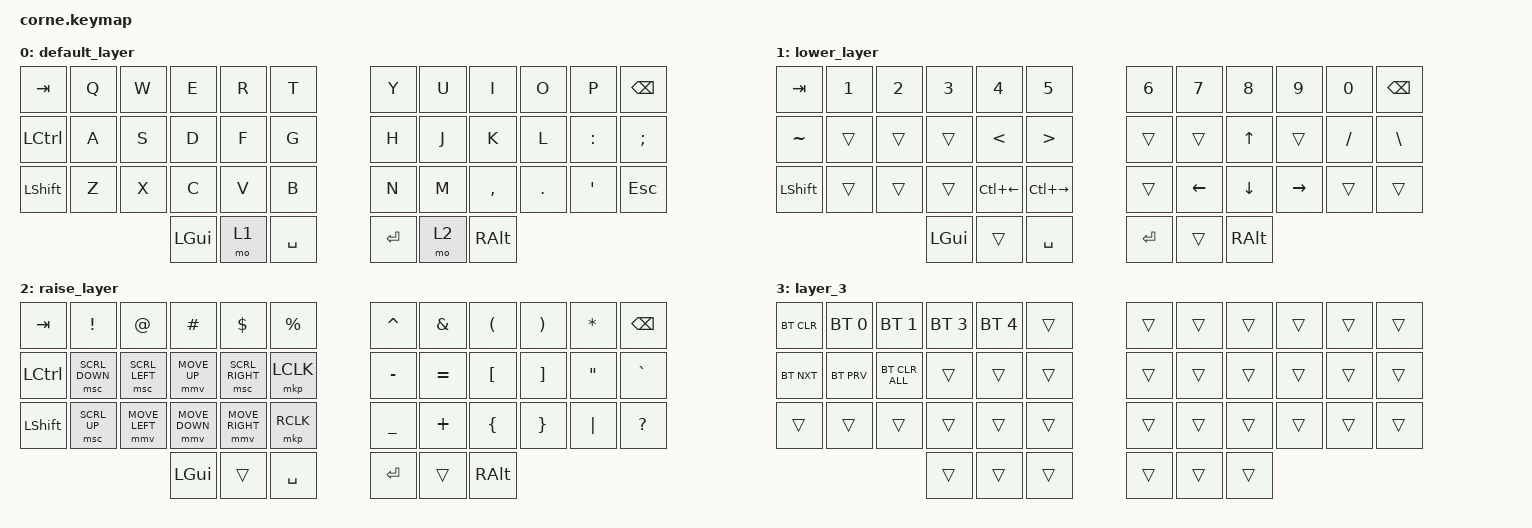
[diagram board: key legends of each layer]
/*
 * Copyright (c) 2020 The ZMK Contributors
 *
 * SPDX-License-Identifier: MIT
 */

#include <behaviors.dtsi>
#include <dt-bindings/zmk/bt.h>
#include <dt-bindings/zmk/keys.h>
#include <dt-bindings/zmk/pointing.h>
#include <dt-bindings/zmk/pointing.h>
#include <dt-bindings/zmk/pointing.h>

#define ZMK_POINTING_DEFAULT_MOVE_VAL 1500
#define ZMK_POINTING_DEFAULT_SCRL_VAL 20

/ {
    combos {
        compatible = "zmk,combos";

        combo_esc {
            timeout-ms = <50>;
            key-positions = <0 1>;
            bindings = <&kp ESC>;
        };

        layer3 {
            bindings = <&mo 3>;
            key-positions = <37 40>;
        };
    };

    behaviors {
        ss_hs_modmorph: ss_hs_modmorph {
            compatible = "zmk,behavior-mod-morph";
            label = "SS_HS_MODMORPH";
            bindings = <&kp M>, <&kp RIGHT_BRACKET>;

            #binding-cells = <0>;
            mods = <(MOD_LSFT|MOD_RSFT)>;
        };

        kh_hs_tapdance: kh_hs_tapdance {
            compatible = "zmk,behavior-tap-dance";
            label = "KH_HS_TAPDANCE";
            #binding-cells = <0>;
            tapping-term-ms = <200>;
            bindings = <&kp LEFT_BRACKET>, <&kp RIGHT_BRACKET>;
        };

        hrm: hrm {
            compatible = "zmk,behavior-hold-tap";
            #binding-cells = <2>;
            flavor = "tap-preferred";
            tapping-term-ms = <200>;
            quick-tap-ms = <200>;
            require-prior-idle-ms = <125>;
            bindings = <&kp>, <&kp>;
        };
    };

    keymap {
        compatible = "zmk,keymap";

        default_layer {
            // -----------------------------------------------------------------------------------------
            // |  TAB |  Q  |  W  |  E  |  R  |  T  |   |  Y  |  U   |  I  |  O  |  P  | BKSP |
            // | CTRL |  A  |  S  |  D  |  F  |  G  |   |  H  |  J   |  K  |  L  |  ;  |  '   |
            // | SHFT |  Z  |  X  |  C  |  V  |  B  |   |  N  |  M   |  ,  |  .  |  /  | ESC  |
            //                    | GUI | LWR | SPC |   | ENT | RSE  | ALT |

            bindings = <
&kp TAB    &kp Q  &kp W  &kp E     &kp R  &kp T        &kp Y    &kp U  &kp I      &kp O    &kp P           &kp BSPC
&kp LCTRL  &kp A  &kp S  &kp D     &kp F  &kp G        &kp H    &kp J  &kp K      &kp L    &kp COLON       &kp SEMICOLON
&kp LSHFT  &kp Z  &kp X  &kp C     &kp V  &kp B        &kp N    &kp M  &kp COMMA  &kp DOT  &kp APOSTROPHE  &kp ESC
                         &kp LGUI  &mo 1  &kp SPACE    &kp RET  &mo 2  &kp RALT
            >;
        };

        lower_layer {
            // -----------------------------------------------------------------------------------------
            // |  TAB |  1  |  2  |  3  |  4  |  5  |   |  6  |  7  |  8  |  9  |  0  | BKSP |
            // | BTCLR| BT1 | BT2 | BT3 | BT4 | BT5 |   | LFT | DWN |  UP | RGT |     |      |
            // | SHFT |     |     |     |     |     |   |     |     |     |     |     |      |
            //                    | GUI |     | SPC |   | ENT |     | ALT |

            bindings = <
&kp TAB    &kp N1  &kp N2  &kp N3    &kp N4              &kp N5              &kp N6   &kp N7          &kp N8        &kp N9     &kp N0    &kp BSPC
&kp TILDE  &trans  &trans  &trans    &kp LESS_THAN       &kp GREATER_THAN    &trans   &trans          &kp UP_ARROW  &trans     &kp FSLH  &kp BACKSLASH
&kp LSHFT  &trans  &trans  &trans    &kp LC(LEFT_ARROW)  &kp LC(RIGHT)       &trans   &kp LEFT_ARROW  &kp DOWN      &kp RIGHT  &trans    &trans
                           &kp LGUI  &trans              &kp SPACE           &kp RET  &trans          &kp RALT
            >;
        };

        raise_layer {
            // -----------------------------------------------------------------------------------------
            // |  TAB |  !  |  @  |  #  |  $  |  %  |   |  ^  |  &  |  *  |  (  |  )  | BKSP |
            // | CTRL |     |     |     |     |     |   |  -  |  =  |  [  |  ]  |  \  |  `   |
            // | SHFT |     |     |     |     |     |   |  _  |  +  |  {  |  }  | "|" |  ~   |
            //                    | GUI |     | SPC |   | ENT |     | ALT |

            bindings = <
&kp TAB    &kp EXCL        &kp AT          &kp HASH        &kp DLLR         &kp PRCNT    &kp CARET  &kp AMPS   &kp LEFT_PARENTHESIS  &kp RPAR  &kp STAR           &kp BSPC
&kp LCTRL  &msc SCRL_DOWN  &msc SCRL_LEFT  &mmv MOVE_UP    &msc SCRL_RIGHT  &mkp LCLK    &kp MINUS  &kp EQUAL  &kp LBKT              &kp RBKT  &kp DOUBLE_QUOTES  &kp GRAVE
&kp LSHFT  &msc SCRL_UP    &mmv MOVE_LEFT  &mmv MOVE_DOWN  &mmv MOVE_RIGHT  &mkp RCLK    &kp UNDER  &kp PLUS   &kp LBRC              &kp RBRC  &kp PIPE           &kp QUESTION
                                           &kp LGUI        &trans           &kp SPACE    &kp RET    &trans     &kp RALT
            >;
        };

        layer_3 {
            bindings = <
&bt BT_CLR  &bt BT_SEL 0  &bt BT_SEL 1    &bt BT_SEL 3  &bt BT_SEL 4  &trans    &trans  &trans  &trans  &trans  &trans  &trans
&bt BT_NXT  &bt BT_PRV    &bt BT_CLR_ALL  &trans        &trans        &trans    &trans  &trans  &trans  &trans  &trans  &trans
&trans      &trans        &trans          &trans        &trans        &trans    &trans  &trans  &trans  &trans  &trans  &trans
                                          &trans        &trans        &trans    &trans  &trans  &trans
            >;
        };
    };
};
